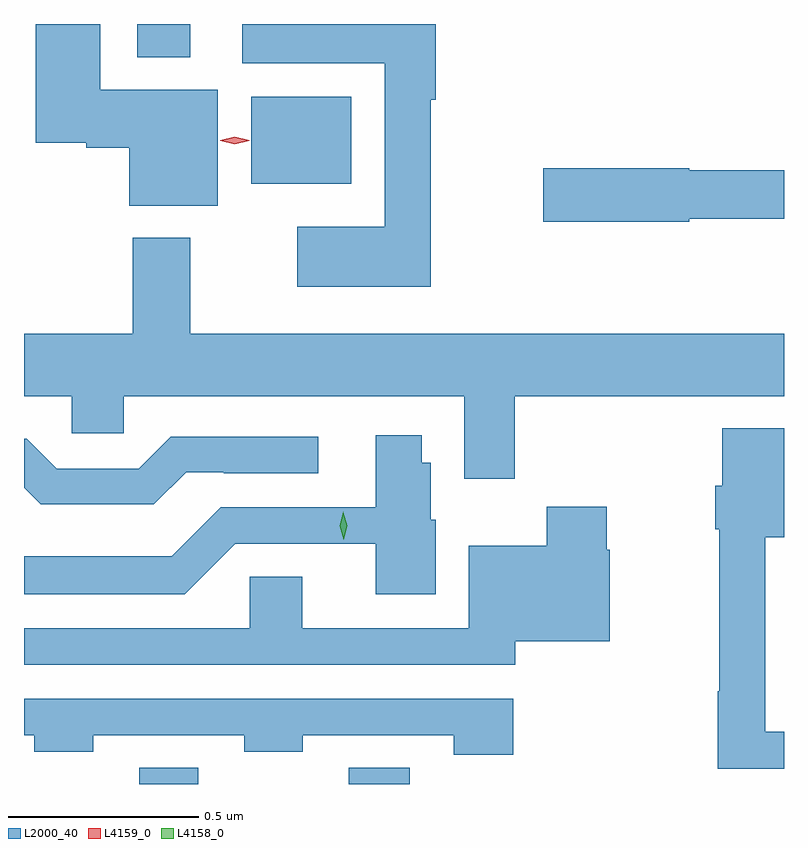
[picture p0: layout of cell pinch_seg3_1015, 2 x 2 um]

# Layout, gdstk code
import gdstk
lib = gdstk.Library(unit=1e-6, precision=1e-09)
def R(c, l, rs):  # rectangles x0, y0, x1, y1
    for r in rs: c.add(gdstk.rectangle(r[:2], r[2:], *l))
def P(c, l, *ps):  # polygons
    for p in ps: c.add(gdstk.Polygon(p, *l))
L2000_40 = (2000, 40)
L4158_0 = (4158, 0)
L4159_0 = (4159, 0)

pinch_seg3_1015 = lib.new_cell('pinch_seg3_1015')
R(pinch_seg3_1015, L2000_40, [(407.362,685.243,407.517,685.286), (407.914,685.243,408.074,685.286), (407.657,686.822,407.92,687.052), (407.357,687.155,407.497,687.243)])
P(pinch_seg3_1015, L2000_40, [(408.13,687.044),(408.143,687.044),(408.143,687.243),(407.633,687.243),(407.633,687.14),(408.008,687.14),(408.008,686.71),(407.778,686.71),(407.778,686.552),(408.13,686.552)],
  [(407.569,687.07),(407.26,687.07),(407.26,687.243),(407.09,687.243),(407.09,686.93),(407.223,686.93),(407.223,686.918),(407.336,686.918),(407.336,686.765),(407.569,686.765)],
  [(408.81,686.73),(409.059,686.73),(409.059,686.858),(408.81,686.858),(408.81,686.864),(408.426,686.864),(408.426,686.722),(408.81,686.722)],
  [(408.35,686.264),(409.059,686.264),(409.059,686.428),(407.497,686.428),(407.497,686.68),(407.345,686.68),(407.345,686.428),(407.059,686.428),(407.059,686.264),(407.184,686.264),(407.184,686.166),(407.322,686.166),(407.322,686.264),(408.218,686.264),(408.218,686.046),(408.35,686.046)],
  [(409.059,685.38),(409.009,685.38),(409.009,685.892),(409.059,685.892),(409.059,686.179),(408.896,686.179),(408.896,686.028),(408.878,686.028),(408.878,685.914),(408.889,685.914),(408.889,685.487),(408.884,685.487),(408.884,685.283),(409.059,685.283)],
  [(407.615,685.875),(407.984,685.875),(407.984,685.742),(408.142,685.742),(408.142,685.938),(408.13,685.938),(408.13,686.088),(408.106,686.088),(408.106,686.161),(407.984,686.161),(407.984,685.971),(407.577,685.971),(407.448,685.842),(407.345,685.842),(407.345,685.843),(407.116,685.843),(407.116,685.842),(407.059,685.842),(407.059,685.742),(407.482,685.742)],
  [(407.486,686.064),(407.584,686.064),(407.584,686.061),(407.833,686.061),(407.833,686.157),(407.445,686.157),(407.361,686.073),(407.145,686.073),(407.066,686.152),(407.059,686.152),(407.059,686.022),(407.103,685.979),(407.401,685.979)],
  [(408.352,685.619),(408.6,685.619),(408.6,685.859),(408.592,685.859),(408.592,685.972),(408.434,685.972),(408.434,685.87),(408.23,685.87),(408.23,685.653),(407.791,685.653),(407.791,685.789),(407.653,685.789),(407.653,685.653),(407.059,685.653),(407.059,685.557),(408.352,685.557)],
  [(408.346,685.467),(407.059,685.467),(407.059,685.371),(407.086,685.371),(407.086,685.328),(407.241,685.328),(407.241,685.371),(407.638,685.371),(407.638,685.328),(407.793,685.328),(407.793,685.371),(408.19,685.371),(408.19,685.32),(408.346,685.32)])
P(pinch_seg3_1015, L4158_0, [(407.901,685.886),(407.901,685.886),(407.89,685.922),(407.899,685.958),(407.899,685.959),(407.899,685.958),(407.91,685.923),(407.901,685.886)])
P(pinch_seg3_1015, L4159_0, [(407.614,686.926),(407.575,686.936),(407.575,686.936),(407.575,686.937),(407.614,686.946),(407.652,686.937),(407.652,686.936),(407.652,686.936)])

lib.write_gds('pinch_seg3_1015.gds')
